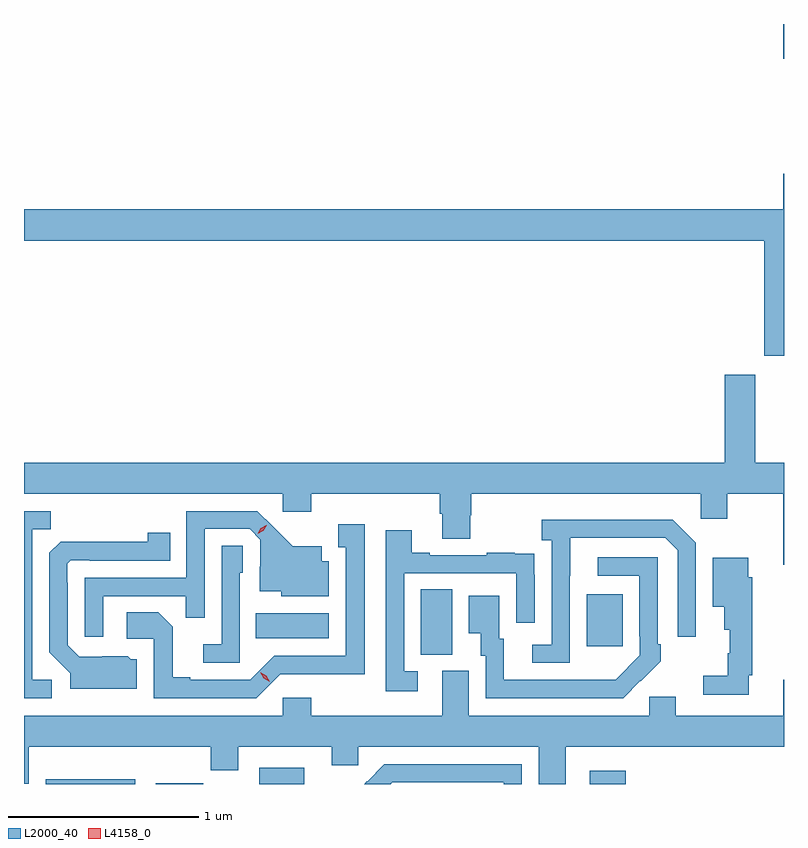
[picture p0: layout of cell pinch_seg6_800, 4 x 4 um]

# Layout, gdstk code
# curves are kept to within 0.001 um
import gdstk
lib = gdstk.Library(unit=1e-6, precision=1e-09)
def R(c, l, rs):  # rectangles x0, y0, x1, y1
    for r in rs: c.add(gdstk.rectangle(r[:2], r[2:], *l))
def P(c, l, *ps):  # polygons
    for p in ps: c.add(gdstk.Polygon(p, *l))
L2000_40 = (2000, 40)
L4158_0 = (4158, 0)

pinch_seg6_800 = lib.new_cell('pinch_seg6_800')
R(pinch_seg6_800, L2000_40, [(149.138,971.116,149.608,971.14), (149.717,971.116,149.966,971.119), (150.261,971.116,150.499,971.202), (152.001,971.116,152.189,971.185), (151.112,971.797,151.276,972.14), (151.985,971.841,152.173,972.115), (150.244,971.882,150.628,972.016), (153.02,974.934,153.023,975.116)])
P(pinch_seg6_800, L2000_40, [(153.023,974.329),(153.02,974.329),(153.02,974.14),(149.023,974.14),(149.023,973.976),(152.918,973.976),(152.918,973.37),(153.023,973.37)],
  [(153.023,972.808),(152.871,972.808),(152.871,973.27),(152.711,973.27),(152.711,972.808),(149.023,972.808),(149.023,972.644),(150.384,972.644),(150.384,972.549),(150.536,972.549),(150.536,972.644),(151.211,972.644),(151.211,972.538),(151.223,972.538),(151.223,972.406),(151.371,972.406),(151.371,972.531),(151.376,972.531),(151.376,972.644),(152.586,972.644),(152.586,972.513),(152.725,972.513),(152.725,972.644),(153.02,972.644),(153.02,972.27),(153.023,972.27)],
  [(149.17,971.664),(149.067,971.664),(149.067,972.457),(149.163,972.457),(149.163,972.552),(149.023,972.552),(149.023,971.568),(149.17,971.568)],
  [(149.439,972.105),(149.875,972.105),(149.875,971.992),(149.973,971.992),(149.973,972.459),(150.21,972.459),(150.267,972.402),(150.267,972.26),(150.263,972.26),(150.263,972.131),(150.378,972.131),(150.378,972.104),(150.628,972.104),(150.628,972.289),(150.589,972.289),(150.589,972.367),(150.437,972.367),(150.25,972.552),(149.877,972.552),(149.877,972.201),(149.343,972.201),(149.343,971.892),(149.439,971.892)],
  [(151.896,972.211),(151.897,972.411),(152.397,972.411),(152.463,972.345),(152.463,971.892),(152.559,971.892),(152.559,972.387),(152.438,972.508),(151.749,972.508),(151.749,972.398),(151.8,972.398),(151.8,971.85),(151.698,971.85),(151.698,971.754),(151.896,971.754)],
  [(150.372,971.694),(150.817,971.693),(150.817,972.484),(150.677,972.484),(150.677,972.363),(150.716,972.363),(150.716,971.79),(150.339,971.79),(150.213,971.664),(149.899,971.664),(149.899,971.677),(149.805,971.677),(149.805,971.944),(149.729,972.02),(149.565,972.02),(149.565,971.88),(149.706,971.88),(149.706,971.568),(150.246,971.568)],
  [(151.096,971.709),(151.023,971.709),(151.023,972.225),(151.614,972.225),(151.614,971.964),(151.71,971.964),(151.71,972.218),(151.709,972.218),(151.709,972.327),(151.607,972.327),(151.607,972.334),(151.459,972.334),(151.459,972.321),(151.159,972.321),(151.159,972.334),(151.063,972.334),(151.063,972.451),(150.927,972.451),(150.927,971.604),(151.096,971.604)],
  [(149.617,971.772),(149.586,971.772),(149.57,971.788),(149.313,971.787),(149.253,971.847),(149.253,972.176),(149.25,972.176),(149.25,972.276),(149.268,972.294),(149.368,972.294),(149.368,972.291),(149.792,972.291),(149.792,972.439),(149.674,972.439),(149.674,972.392),(149.216,972.391),(149.157,972.332),(149.157,971.81),(149.267,971.7),(149.267,971.618),(149.617,971.618)],
  [(150.159,972.228),(150.174,972.228),(150.174,972.371),(150.063,972.371),(150.063,971.851),(149.967,971.851),(149.967,971.754),(150.159,971.754)],
  [(152.267,971.659),(152.268,971.658),(152.373,971.763),(152.373,971.851),(152.358,971.851),(152.358,972.309),(152.043,972.309),(152.043,972.213),(152.262,972.213),(152.262,971.893),(152.265,971.893),(152.265,971.793),(152.137,971.665),(151.549,971.664),(151.549,971.88),(151.525,971.88),(151.525,972.106),(151.364,972.106),(151.364,971.909),(151.427,971.909),(151.427,971.79),(151.452,971.79),(151.452,971.568),(152.176,971.568)],
  [(152.837,971.689),(152.855,971.689),(152.855,972.203),(152.836,972.203),(152.836,972.307),(152.648,972.307),(152.648,972.05),(152.708,972.05),(152.708,971.927),(152.738,971.927),(152.738,971.805),(152.727,971.805),(152.727,971.685),(152.598,971.685),(152.598,971.586),(152.837,971.586)],
  [(151.873,971.312),(153.023,971.312),(153.023,971.665),(153.02,971.665),(153.02,971.476),(152.452,971.476),(152.452,971.574),(152.313,971.574),(152.313,971.476),(151.363,971.476),(151.363,971.712),(151.223,971.712),(151.223,971.476),(150.536,971.476),(150.536,971.569),(150.384,971.569),(150.384,971.476),(149.023,971.476),(149.023,971.118),(149.047,971.118),(149.047,971.312),(150.007,971.312),(150.007,971.188),(150.151,971.188),(150.151,971.312),(150.644,971.312),(150.644,971.214),(150.783,971.214),(150.783,971.312),(151.733,971.312),(151.733,971.116),(151.873,971.116)],
  [(150.96,971.124),(151.547,971.124),(151.547,971.116),(151.644,971.116),(151.644,971.22),(150.92,971.22),(150.829,971.129),(150.828,971.13),(150.814,971.116),(150.952,971.116)])
P(pinch_seg6_800, L4158_0, [(150.317,971.653),(150.285,971.672),(150.267,971.704),(150.267,971.705),(150.267,971.705),(150.299,971.686),(150.317,971.654),(150.317,971.653)],
  [(150.252,972.433),(150.252,972.434),(150.269,972.463),(150.299,972.479),(150.3,972.479),(150.3,972.479),(150.283,972.449),(150.253,972.433)])

lib.write_gds('pinch_seg6_800.gds')
